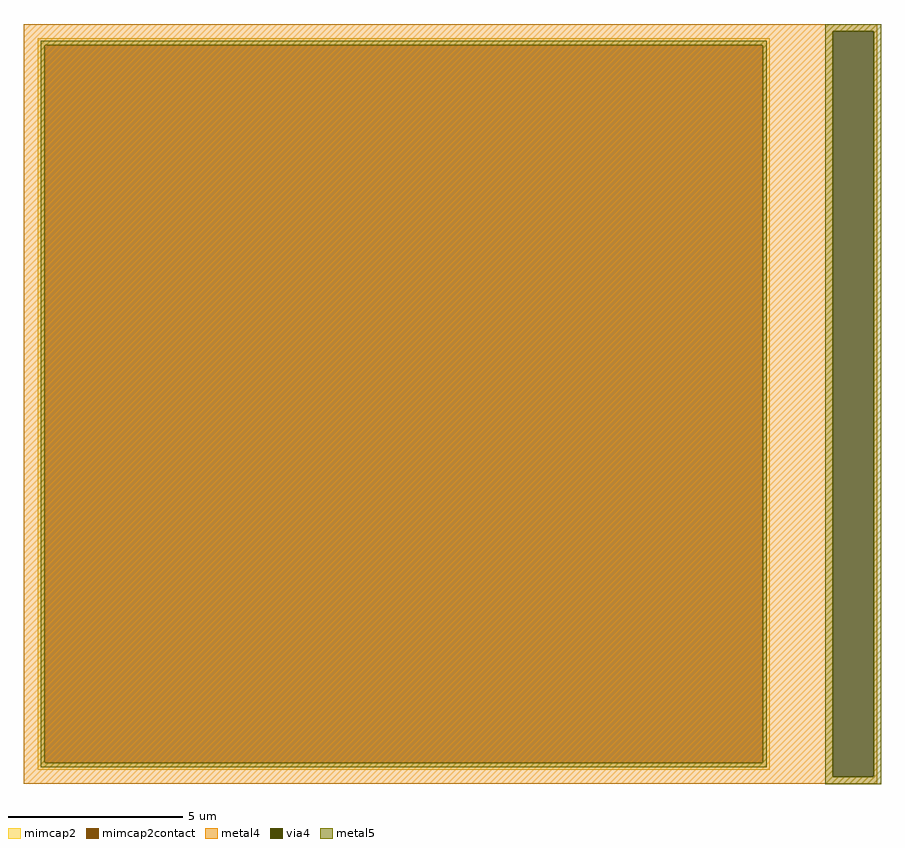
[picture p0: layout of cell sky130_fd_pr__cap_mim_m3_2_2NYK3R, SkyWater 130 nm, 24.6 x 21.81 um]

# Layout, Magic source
magic
tech sky130A
magscale 1 2
<< metal4 >>
rect -2449 2139 2449 2180
rect -2449 -2139 2193 2139
rect 2429 -2139 2449 2139
rect -2449 -2180 2449 -2139
<< via4 >>
rect 2193 -2139 2429 2139
<< mimcap2 >>
rect -2369 2060 1831 2100
rect -2369 -2060 -2329 2060
rect 1791 -2060 1831 2060
rect -2369 -2100 1831 -2060
<< mimcap2contact >>
rect -2329 -2060 1791 2060
<< metal5 >>
rect 2151 2139 2471 2181
rect -2353 2060 1815 2084
rect -2353 -2060 -2329 2060
rect 1791 -2060 1815 2060
rect -2353 -2084 1815 -2060
rect 2151 -2139 2193 2139
rect 2429 -2139 2471 2139
rect 2151 -2181 2471 -2139
<< properties >>
string FIXED_BBOX -2449 -2180 1911 2180
string gencell sky130_fd_pr__cap_mim_m3_2
string library sky130
string parameters w 21.0 l 21.0 val 897.96 carea 2.00 cperi 0.19 nx 1 ny 1 dummy 0 square 0 lmin 2.00 wmin 2.00 lmax 30.0 wmax 30.0 dc 0 bconnect 1 tconnect 1 ccov 100
<< end >>
